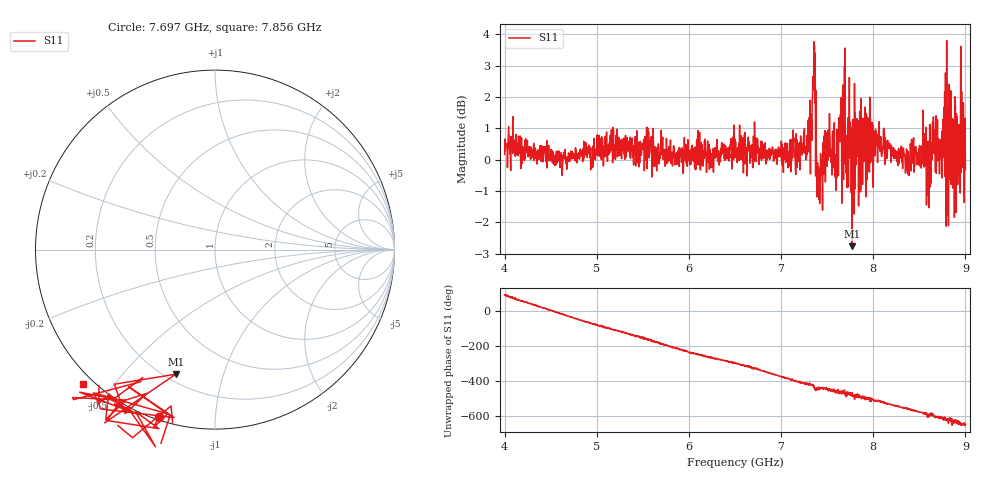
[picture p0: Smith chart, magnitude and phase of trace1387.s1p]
! Created with skrf 1.8.0 (http://scikit-rf.org).
# Hz S RI R 50.0
!freq ReS11 ImS11
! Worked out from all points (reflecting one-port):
!   1601 points, 4 GHz to 9 GHz, reference 50 ohm
!   lowest |S11| = -2.8 dB at 7.772 GHz (marker M1), VSWR 6.35, Z = 11.9 - j35.3 ohm
!   phase of S11 starts at 96 deg and turns -747 deg over the sweep
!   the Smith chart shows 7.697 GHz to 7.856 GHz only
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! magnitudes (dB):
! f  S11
! 4 GHz  0.2
! 4.625 GHz  -0.5
! 5.25 GHz  0.1
! 5.875 GHz  0.0
! 6.5 GHz  0.2
! 7.125 GHz  0.5
! 7.294 GHz  1.2
! 7.347 GHz  2.2
! 7.362 GHz  3.6
! 7.4 GHz  -0.5
! 7.412 GHz  -1.3
! 7.509 GHz  0.0
! 7.606 GHz  1.0
! 7.669 GHz  2.2
! 7.75 GHz  0.1
! 7.772 GHz  -2.8
! 7.822 GHz  0.2
! 8.047 GHz  -0.1
! 8.375 GHz  0.0
! 8.55 GHz  -0.2
! 8.603 GHz  -1.0
! 8.656 GHz  1.0
! 8.725 GHz  0.6
! 8.775 GHz  2.2
! 8.794 GHz  1.5
! 8.919 GHz  -0.4
! 8.959 GHz  2.2
! 9 GHz  -0.3
